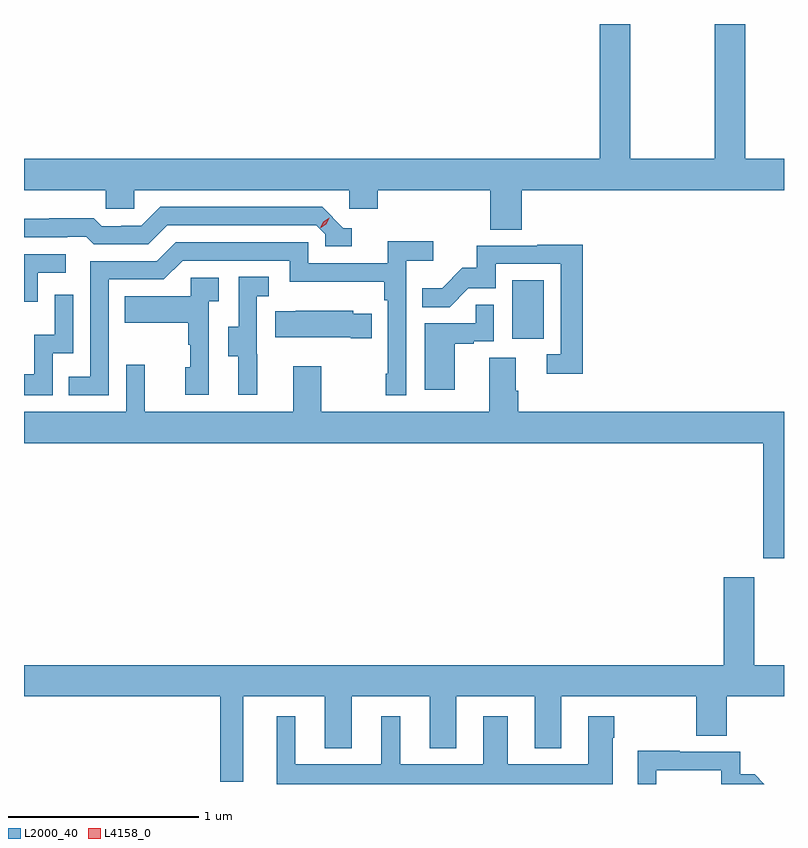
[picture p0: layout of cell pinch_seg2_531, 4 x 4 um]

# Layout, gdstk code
import gdstk
lib = gdstk.Library(unit=1e-6, precision=1e-09)
def R(c, l, rs):  # rectangles x0, y0, x1, y1
    for r in rs: c.add(gdstk.rectangle(r[:2], r[2:], *l))
def P(c, l, *ps):  # polygons
    for p in ps: c.add(gdstk.Polygon(p, *l))
L2000_40 = (2000, 40)
L4158_0 = (4158, 0)

pinch_seg2_531 = lib.new_cell('pinch_seg2_531')
R(pinch_seg2_531, L2000_40, [(1121.738,604.23,1121.902,604.537)])
P(pinch_seg2_531, L2000_40, [(1121.786,605.012),(1123.167,605.012),(1123.167,605.176),(1122.962,605.176),(1122.962,605.886),(1122.802,605.886),(1122.802,605.176),(1122.357,605.176),(1122.357,605.886),(1122.197,605.886),(1122.197,605.176),(1119.167,605.176),(1119.167,605.012),(1119.597,605.012),(1119.597,604.914),(1119.747,604.914),(1119.747,605.012),(1120.878,605.012),(1120.878,604.914),(1121.03,604.914),(1121.03,605.012),(1121.621,605.012),(1121.621,604.804),(1121.786,604.804)],
  [(1120.891,604.812),(1120.848,604.812),(1120.737,604.923),(1119.884,604.923),(1119.785,604.824),(1119.678,604.824),(1119.678,604.821),(1119.575,604.821),(1119.533,604.864),(1119.3,604.864),(1119.3,604.861),(1119.167,604.861),(1119.167,604.764),(1119.395,604.764),(1119.395,604.767),(1119.494,604.767),(1119.533,604.728),(1119.822,604.728),(1119.921,604.827),(1120.704,604.827),(1120.752,604.779),(1120.752,604.716),(1120.891,604.716)],
  [(1119.612,604.542),(1119.903,604.542),(1120.002,604.641),(1120.566,604.641),(1120.566,604.529),(1121.062,604.529),(1121.062,604.433),(1121.082,604.433),(1121.082,604.045),(1121.07,604.045),(1121.07,603.933),(1121.178,603.933),(1121.178,604.64),(1121.32,604.64),(1121.32,604.742),(1121.081,604.742),(1121.081,604.626),(1120.662,604.626),(1120.662,604.737),(1119.965,604.737),(1119.866,604.638),(1119.516,604.638),(1119.516,604.029),(1119.403,604.029),(1119.403,603.933),(1119.612,603.933)],
  [(1122.107,604.724),(1121.869,604.724),(1121.869,604.719),(1121.551,604.719),(1121.551,604.602),(1121.474,604.602),(1121.367,604.495),(1121.263,604.495),(1121.263,604.396),(1121.407,604.396),(1121.505,604.494),(1121.649,604.494),(1121.649,604.623),(1121.991,604.623),(1121.991,604.149),(1121.919,604.149),(1121.919,604.044),(1122.107,604.044)],
  [(1119.24,604.578),(1119.388,604.578),(1119.388,604.674),(1119.167,604.674),(1119.167,604.425),(1119.24,604.425)],
  [(1120.394,604.149),(1120.392,604.149),(1120.392,604.453),(1120.456,604.453),(1120.456,604.556),(1120.296,604.556),(1120.296,604.293),(1120.241,604.293),(1120.241,604.138),(1120.295,604.138),(1120.295,603.936),(1120.394,603.936)],
  [(1120.14,604.427),(1120.192,604.427),(1120.192,604.551),(1120.044,604.551),(1120.044,604.453),(1119.697,604.453),(1119.697,604.313),(1120.032,604.313),(1120.032,604.199),(1120.042,604.199),(1120.042,604.08),(1120.016,604.08),(1120.016,603.936),(1120.14,603.936)],
  [(1119.318,604.152),(1119.426,604.152),(1119.426,604.462),(1119.33,604.462),(1119.33,604.25),(1119.221,604.25),(1119.221,604.042),(1119.167,604.042),(1119.167,603.933),(1119.318,603.933)],
  [(1121.434,604.203),(1121.534,604.203),(1121.534,604.215),(1121.64,604.215),(1121.64,604.409),(1121.545,604.409),(1121.545,604.311),(1121.276,604.311),(1121.276,603.96),(1121.434,603.96)],
  [(1120.997,604.36),(1120.899,604.36),(1120.899,604.378),(1120.597,604.378),(1120.597,604.375),(1120.489,604.375),(1120.489,604.238),(1120.886,604.238),(1120.886,604.231),(1120.997,604.231)],
  [(1123.167,603.844),(1121.768,603.844),(1121.768,603.956),(1121.755,603.956),(1121.755,604.13),(1121.615,604.13),(1121.615,603.844),(1120.731,603.844),(1120.731,604.084),(1120.583,604.084),(1120.583,603.844),(1119.803,603.844),(1119.803,604.093),(1119.705,604.093),(1119.705,603.844),(1119.167,603.844),(1119.167,603.68),(1123.058,603.68),(1123.058,603.074),(1123.167,603.074)],
  [(1120.321,602.348),(1120.751,602.348),(1120.751,602.075),(1120.891,602.075),(1120.891,602.348),(1121.303,602.348),(1121.303,602.075),(1121.443,602.075),(1121.443,602.348),(1121.855,602.348),(1121.855,602.075),(1121.995,602.075),(1121.995,602.348),(1122.706,602.348),(1122.706,602.14),(1122.866,602.14),(1122.866,602.348),(1123.167,602.348),(1123.167,602.512),(1123.011,602.512),(1123.011,602.974),(1122.851,602.974),(1122.851,602.512),(1119.167,602.512),(1119.167,602.348),(1120.2,602.348),(1120.2,601.899),(1120.321,601.899)],
  [(1122.265,602.129),(1122.273,602.129),(1122.273,602.242),(1122.137,602.242),(1122.137,601.99),(1121.713,601.99),(1121.713,602.242),(1121.585,602.242),(1121.585,601.99),(1121.146,601.99),(1121.146,602.242),(1121.048,602.242),(1121.048,601.99),(1120.594,601.99),(1120.594,602.242),(1120.496,602.242),(1120.496,601.886),(1122.265,601.886)],
  [(1122.495,601.959),(1122.837,601.959),(1122.837,601.886),(1123.064,601.886),(1123.012,601.938),(1122.936,601.938),(1122.936,602.055),(1122.617,602.055),(1122.617,602.06),(1122.398,602.06),(1122.398,601.886),(1122.495,601.886)])
P(pinch_seg2_531, L4158_0, [(1120.727,604.813),(1120.727,604.814),(1120.743,604.846),(1120.774,604.866),(1120.774,604.866),(1120.774,604.866),(1120.758,604.833),(1120.728,604.813)])

lib.write_gds('pinch_seg2_531.gds')
